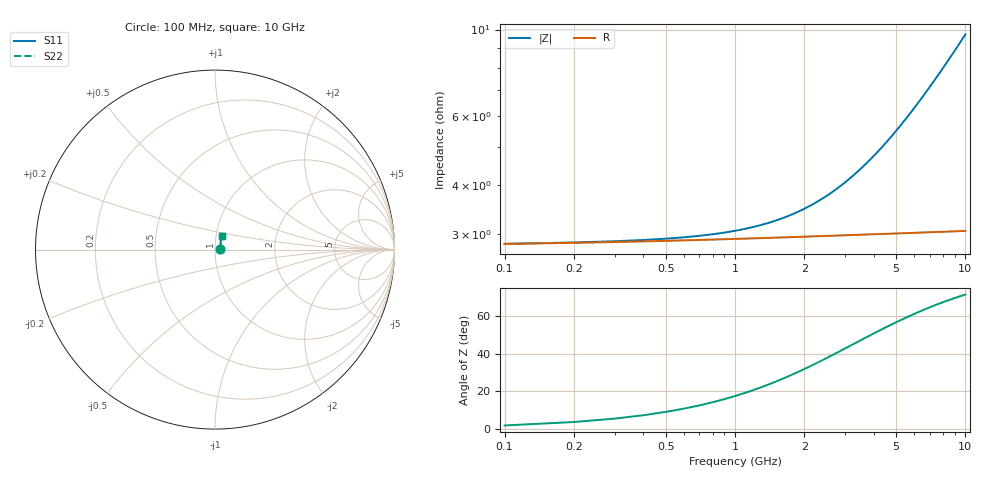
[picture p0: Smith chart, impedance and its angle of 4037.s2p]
# Hz S RI R 50.00
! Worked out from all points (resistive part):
!   100 points, 100 MHz to 10 GHz, reference 50 ohm
!   read as one part in series: R = 2.83 ohm at 100 MHz
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1e8  0.0276 0.000741  0.9724 -0.001  0.9724 -0.001  0.0276 0.000741
2e8  0.0277 0.00148  0.9723 -0.00201  0.9723 -0.00201  0.0277 0.00148
7e8  0.0282 0.00518  0.9718 -0.00702  0.9718 -0.00702  0.0282 0.00518
1e9  0.0284 0.0074  0.9716 -0.01  0.9716 -0.01  0.0284 0.0074
1.2e9  0.0286 0.00888  0.9714 -0.012  0.9714 -0.012  0.0286 0.00888
1.4e9  0.0287 0.0104  0.9713 -0.014  0.9713 -0.014  0.0287 0.0104
1.8e9  0.0289 0.0133  0.9711 -0.018  0.9711 -0.018  0.0289 0.0133
2.1e9  0.0291 0.0155  0.9709 -0.021  0.9709 -0.021  0.0291 0.0155
2.5e9  0.0293 0.0185  0.9706 -0.025  0.9706 -0.025  0.0293 0.0185
2.9e9  0.0296 0.0214  0.9704 -0.029  0.9704 -0.029  0.0296 0.0214
3.4e9  0.0299 0.0251  0.97 -0.034  0.97 -0.034  0.0299 0.0251
4.4e9  0.0307 0.0324  0.9693 -0.044  0.9693 -0.044  0.0307 0.0324
5.1e9  0.0313 0.0376  0.9686 -0.0509  0.9686 -0.0509  0.0313 0.0376
5.9e9  0.032 0.0434  0.9678 -0.0589  0.9678 -0.0589  0.032 0.0434
6.3e9  0.0324 0.0463  0.9674 -0.0629  0.9674 -0.0629  0.0324 0.0463
6.7e9  0.0329 0.0492  0.967 -0.0668  0.967 -0.0668  0.0329 0.0492
7.1e9  0.0333 0.0522  0.9665 -0.0708  0.9665 -0.0708  0.0333 0.0522
7.5e9  0.0338 0.0551  0.966 -0.0747  0.966 -0.0747  0.0338 0.0551
7.9e9  0.0343 0.058  0.9655 -0.0787  0.9655 -0.0787  0.0343 0.058
8.4e9  0.035 0.0616  0.9648 -0.0836  0.9648 -0.0836  0.035 0.0616
9.2e9  0.0361 0.0674  0.9636 -0.0915  0.9636 -0.0915  0.0361 0.0674
1e10  0.0373 0.0731  0.9623 -0.0993  0.9623 -0.0993  0.0373 0.0731
